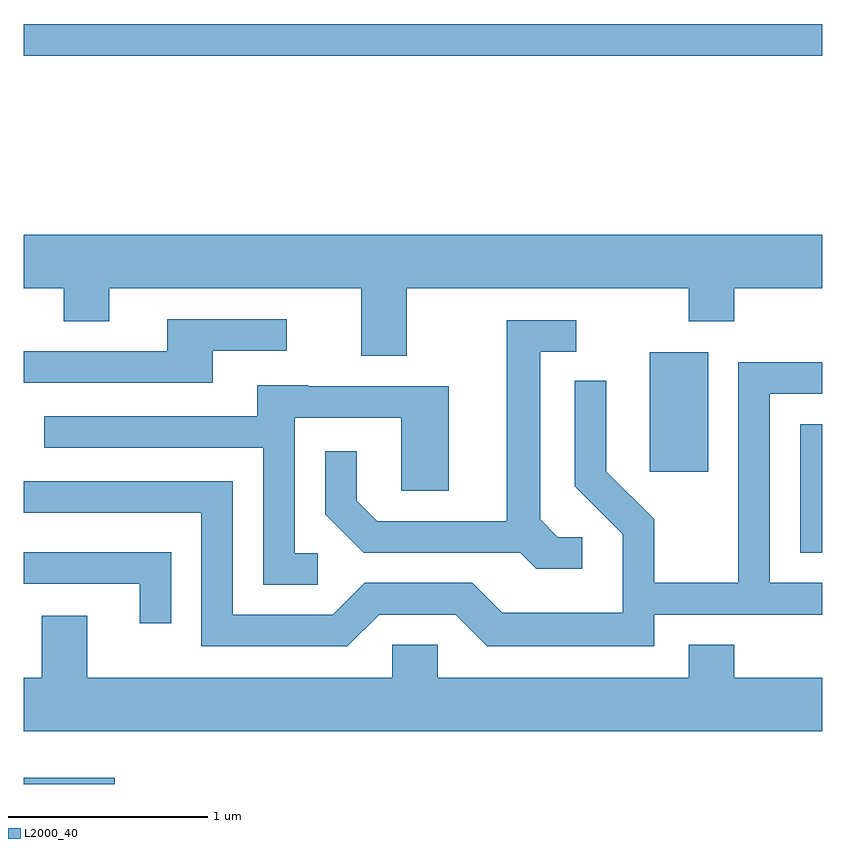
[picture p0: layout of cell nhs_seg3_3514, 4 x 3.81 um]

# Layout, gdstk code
import gdstk
lib = gdstk.Library(unit=1e-6, precision=1e-09)
def R(c, l, rs):  # rectangles x0, y0, x1, y1
    for r in rs: c.add(gdstk.rectangle(r[:2], r[2:], *l))
def P(c, l, *ps):  # polygons
    for p in ps: c.add(gdstk.Polygon(p, *l))
L2000_40 = (2000, 40)

nhs_seg3_3514 = lib.new_cell('nhs_seg3_3514')
R(nhs_seg3_3514, L2000_40, [(287.611,1207.892,288.068,1207.924), (291.501,1209.051,291.611,1209.694), (290.746,1209.456,291.039,1210.054), (287.611,1211.541,291.611,1211.699)])
P(nhs_seg3_3514, L2000_40, [(289.529,1210.376),(290.941,1210.376),(290.941,1210.211),(291.169,1210.211),(291.169,1210.376),(291.611,1210.376),(291.611,1210.644),(287.611,1210.644),(287.611,1210.376),(287.811,1210.376),(287.811,1210.211),(288.039,1210.211),(288.039,1210.376),(289.301,1210.376),(289.301,1210.036),(289.529,1210.036)],
  [(288.559,1210.061),(288.928,1210.061),(288.928,1210.219),(288.331,1210.219),(288.331,1210.059),(287.611,1210.059),(287.611,1209.901),(288.559,1209.901)],
  [(290.408,1209.129),(290.287,1209.129),(290.199,1209.217),(290.199,1210.056),(290.378,1210.056),(290.378,1210.214),(290.031,1210.214),(290.031,1209.209),(289.382,1209.209),(289.279,1209.312),(289.279,1209.558),(289.121,1209.558),(289.121,1209.244),(289.314,1209.051),(290.099,1209.051),(290.179,1208.971),(290.408,1208.971)],
  [(289.392,1208.741),(289.774,1208.741),(289.934,1208.581),(290.769,1208.581),(290.769,1208.741),(291.611,1208.741),(291.611,1208.899),(291.349,1208.899),(291.349,1209.846),(291.611,1209.846),(291.611,1210.004),(291.191,1210.004),(291.191,1208.899),(290.769,1208.899),(290.769,1209.217),(290.529,1209.457),(290.529,1209.913),(290.371,1209.913),(290.371,1209.384),(290.611,1209.144),(290.611,1208.749),(290.007,1208.749),(289.857,1208.899),(289.319,1208.899),(289.159,1208.739),(288.659,1208.739),(288.659,1209.409),(287.611,1209.409),(287.611,1209.251),(288.501,1209.251),(288.501,1208.581),(289.232,1208.581)],
  [(289.083,1209.049),(288.969,1209.049),(288.969,1209.726),(289.501,1209.726),(289.501,1209.361),(289.739,1209.361),(289.739,1209.884),(289.035,1209.884),(289.035,1209.889),(288.781,1209.889),(288.781,1209.734),(287.713,1209.734),(287.713,1209.576),(288.811,1209.576),(288.811,1208.891),(289.083,1208.891)],
  [(288.349,1209.054),(287.611,1209.054),(287.611,1208.896),(288.191,1208.896),(288.191,1208.698),(288.349,1208.698)],
  [(291.611,1208.424),(291.169,1208.424),(291.169,1208.589),(290.941,1208.589),(290.941,1208.424),(289.684,1208.424),(289.684,1208.589),(289.456,1208.589),(289.456,1208.424),(287.929,1208.424),(287.929,1208.734),(287.701,1208.734),(287.701,1208.424),(287.611,1208.424),(287.611,1208.156),(291.611,1208.156)])

lib.write_gds('nhs_seg3_3514.gds')
